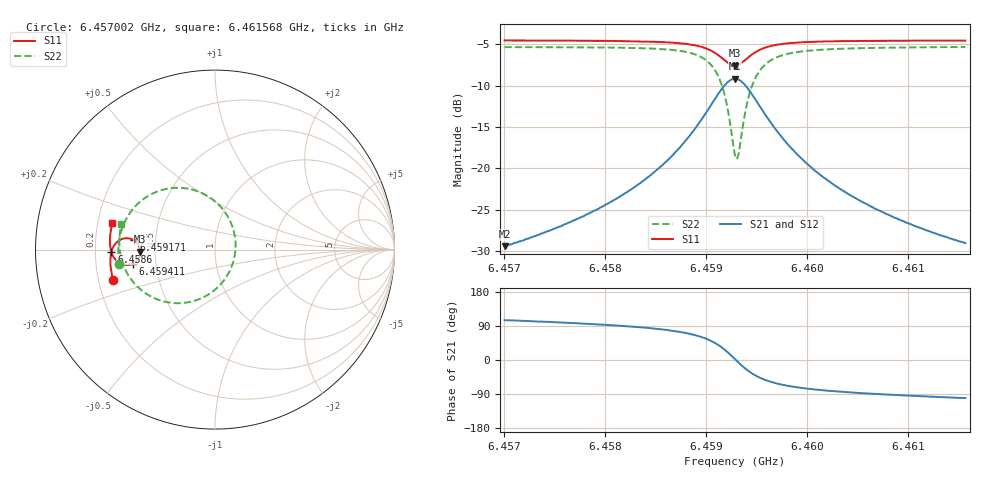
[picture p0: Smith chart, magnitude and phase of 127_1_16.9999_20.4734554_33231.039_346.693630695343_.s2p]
#  HZ  S  RI  R  50.00
! Rohde & Schwarz Vector Network Analyzer
! Rohde-Schwarz,ZNB20-2Port,1311601062101988,3.16
! Created: UTC 3/20/2024, 10:57:46 PM
! freq[Hz]  re:S11  im:S11  re:S21  im:S21  re:S12  im:S12  re:S22  im:S22
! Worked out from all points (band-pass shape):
!   401 points, 6.457002 GHz to 6.461568 GHz, reference 50 ohm
!   highest |S21| = -9.17 dB at 6.459285 GHz (marker M1); lowest = -29.4 dB at 6.457002 GHz (marker M2)
!   |S21| within 3 dB of the highest: 6.459057 GHz to 6.459513 GHz (456.6 kHz wide, 0.00707 % of centre)
!   lowest |S11| = -7.6 dB at 6.459285 GHz (marker M3), VSWR 2.43, Z = 20.6 - j0.559 ohm
!   |S11| at or under -10 dB: nowhere
!   |S22| runs from -18.9 to -5.3 dB; largest |S21 - S12| = 0.014
!   S11 on the Smith chart (normalised r, x): 6.457002 GHz: 0.26, -0.14; 6.4586 GHz: 0.27, -0.01; 6.459171 GHz: 0.38, +0.05; 6.459411 GHz: 0.37, -0.07; 6.461568 GHz: 0.26, +0.12
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6.4570024e9  -0.5666 -0.1716  -0.00886 0.0328  -0.00717 0.0327  -0.5333 -0.0824
6.4577671e9  -0.5806 -0.1045  -0.00555 0.0508  -0.00304 0.0501  -0.5382 0.00745
6.4581665e9  -0.5834 -0.0646  -1.15e-05 0.0689  0.0032 0.0676  -0.5308 0.0705
6.4585318e9  -0.5794 -0.0209  0.0145 0.0993  0.0184 0.0967  -0.5039 0.1525
6.4586002e9  -0.5772 -0.0113  0.0198 0.1078  0.0239 0.1046  -0.494 0.1726
6.4587943e9  -0.5644 0.0191  0.0466 0.1391  0.0507 0.134  -0.4439 0.2418
6.4589426e9  -0.5417 0.0456  0.0921 0.1696  0.0954 0.1631  -0.3597 0.3063
6.4590796e9  -0.4974 0.063  0.1801 0.1862  0.1809 0.1789  -0.1995 0.3444
6.4591709e9  -0.4524 0.0526  0.2707 0.1546  0.2709 0.1489  -0.0323 0.293
6.4592394e9  -0.4231 0.0203  0.3312 0.082  0.3335 0.0768  0.083 0.1622
6.459285e9  -0.4161 -0.0112  0.3476 0.0136  0.3513 0.00669  0.1149 0.0345
6.4592965e9  -0.4167 -0.0193  0.3473 -0.00426  0.3513 -0.0118  0.1141 0.000678
6.4593193e9  -0.4202 -0.035  0.3417 -0.0391  0.3455 -0.0483  0.1026 -0.0652
6.4593649e9  -0.4357 -0.0614  0.3126 -0.0993  0.315 -0.1113  0.0441 -0.1787
6.4594106e9  -0.4582 -0.0779  0.2704 -0.1405  0.2695 -0.1538  -0.0415 -0.2532
6.4595019e9  -0.5018 -0.0848  0.1851 -0.1716  0.1789 -0.1831  -0.2112 -0.2988
6.4596503e9  -0.5462 -0.0644  0.0968 -0.1576  0.0882 -0.1637  -0.379 -0.2486
6.4598101e9  -0.5679 -0.0369  0.0517 -0.1296  0.0441 -0.1322  -0.4595 -0.1763
6.4600497e9  -0.5807 -0.00132  0.0222 -0.0978  0.0167 -0.0983  -0.5073 -0.0937
6.4604035e9  -0.5855 0.0409  0.00602 -0.0702  0.00201 -0.0697  -0.5291 -0.0123
6.4608144e9  -0.5838 0.0821  -0.00142 -0.0521  -0.00428 -0.0513  -0.5329 0.0537
6.4615677e9  -0.5718 0.149  -0.00644 -0.0348  -0.00825 -0.0338  -0.5216 0.1429
